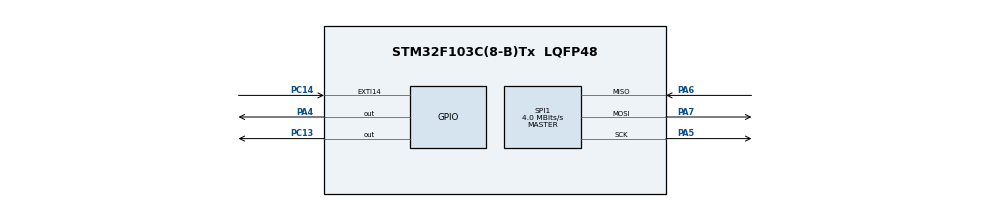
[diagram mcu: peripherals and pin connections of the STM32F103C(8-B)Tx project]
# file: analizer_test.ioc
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Mcu.Family=STM32F1
Mcu.Name=STM32F103C(8-B)Tx
Mcu.Package=LQFP48
NVIC.EXTI15_10_IRQn=true\:0\:0\:false\:false\:true\:true\:true\:true
NVIC.PriorityGroup=NVIC_PRIORITYGROUP_4
NVIC.SPI1_IRQn=true\:0\:0\:false\:false\:true\:true\:true\:true
PA13.Mode=Serial_Wire
PA13.Signal=SYS_JTMS-SWDIO
PA14.Mode=Serial_Wire
PA14.Signal=SYS_JTCK-SWCLK
PA4.GPIO_PuPd=GPIO_NOPULL
PA4.GPIO_Speed=GPIO_SPEED_FREQ_MEDIUM
PA4.PinState=GPIO_PIN_SET
PA4.Signal=GPIO_Output
PA5.Mode=Full_Duplex_Master
PA5.Signal=SPI1_SCK
PA6.Mode=Full_Duplex_Master
PA6.Signal=SPI1_MISO
PA7.Mode=Full_Duplex_Master
PA7.Signal=SPI1_MOSI
PC13-TAMPER-RTC.Signal=GPIO_Output
PC14-OSC32_IN.GPIO_PuPd=GPIO_PULLDOWN
PC14-OSC32_IN.Signal=GPXTI14
PD0-OSC_IN.Mode=HSE-External-Oscillator
PD0-OSC_IN.Signal=RCC_OSC_IN
PD1-OSC_OUT.Mode=HSE-External-Oscillator
PD1-OSC_OUT.Signal=RCC_OSC_OUT
ProjectManager.HeapSize=0x200
ProjectManager.StackSize=0x400
ProjectManager.TargetToolchain=STM32CubeIDE
RCC.APB1Freq_Value=8000000
RCC.APB2Freq_Value=8000000
RCC.PLLSourceVirtual=RCC_PLLSOURCE_HSE
RCC.SYSCLKSource=RCC_SYSCLKSOURCE_HSE
RCC.USBFreq_Value=16000000
SPI1.CRCCalculation=SPI_CRCCALCULATION_DISABLE
SPI1.CalculateBaudRate=4.0 MBits/s
SPI1.Direction=SPI_DIRECTION_2LINES
SPI1.Mode=SPI_MODE_MASTER
SPI1.VirtualType=VM_MASTER
board=custom

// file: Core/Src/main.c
/* USER CODE BEGIN Header */
/**
  ******************************************************************************
  * @file           : main.c
  * @brief          : Main program body
  ******************************************************************************
  * @attention
  *
  * Copyright (c) 2023 STMicroelectronics.
  * All rights reserved.
  *
  * This software is licensed under terms that can be found in the LICENSE file
  * in the root directory of this software component.
  * If no LICENSE file comes with this software, it is provided AS-IS.
  *
  ******************************************************************************
  */
/* USER CODE END Header */
#include "main.h"

/* USER CODE BEGIN Includes */
#include <math.h>
/* USER CODE END Includes */

SPI_HandleTypeDef hspi1;

/* USER CODE BEGIN PV */
uint8_t init_ones[] = {0xFF,0xFF,0xFF,0xFF,0xFF,0xFF,0xFF,0xFF,0xFF,0xFF};
uint8_t init_cmd0[] = {0x40,0x00, 0x00, 0x00, 0x00, 0x95};//0100 0000 0000 0000 0000 0000 0000 0000 0000 0000 1001 0101
/* USER CODE END PV */

void SystemClock_Config(void);
static void MX_GPIO_Init(void);
static void MX_SPI1_Init(void);
/* USER CODE BEGIN PFP */
void HAL_GPIO_EXTI_Callback(uint16_t GPIO_Pin);
void HAL_SPI_TxCpltCallback(SPI_HandleTypeDef *hspi);
uint8_t GET_CRC7(uint64_t data);
/* USER CODE END PFP */

int main(void)
{

  /* MCU Configuration--------------------------------------------------------*/

  /* Reset of all peripherals, Initializes the Flash interface and the Systick. */
  HAL_Init();

  /* Configure the system clock */
  SystemClock_Config();

  /* Initialize all configured peripherals */
  MX_GPIO_Init();
  MX_SPI1_Init();

  /* Infinite loop */
  while (1)
  {

  }
}

void SystemClock_Config(void)
{
  RCC_OscInitTypeDef RCC_OscInitStruct = {0};
  RCC_ClkInitTypeDef RCC_ClkInitStruct = {0};

  /** Initializes the RCC Oscillators according to the specified parameters
  * in the RCC_OscInitTypeDef structure.
  */
  RCC_OscInitStruct.OscillatorType = RCC_OSCILLATORTYPE_HSE;
  RCC_OscInitStruct.HSEState = RCC_HSE_ON;
  RCC_OscInitStruct.PLL.PLLState = RCC_PLL_NONE;
  if (HAL_RCC_OscConfig(&RCC_OscInitStruct) != HAL_OK)
  {
    Error_Handler();
  }

  /** Initializes the CPU, AHB and APB buses clocks
  */
  RCC_ClkInitStruct.ClockType = RCC_CLOCKTYPE_HCLK|RCC_CLOCKTYPE_SYSCLK
                              |RCC_CLOCKTYPE_PCLK1|RCC_CLOCKTYPE_PCLK2;
  RCC_ClkInitStruct.SYSCLKSource = RCC_SYSCLKSOURCE_HSE;
  RCC_ClkInitStruct.AHBCLKDivider = RCC_SYSCLK_DIV1;
  RCC_ClkInitStruct.APB1CLKDivider = RCC_HCLK_DIV1;
  RCC_ClkInitStruct.APB2CLKDivider = RCC_HCLK_DIV1;

  if (HAL_RCC_ClockConfig(&RCC_ClkInitStruct, FLASH_LATENCY_0) != HAL_OK)
  {
    Error_Handler();
  }
}

static void MX_SPI1_Init(void)
{

  /* SPI1 parameter configuration*/
  hspi1.Instance = SPI1;
  hspi1.Init.Mode = SPI_MODE_MASTER;
  hspi1.Init.Direction = SPI_DIRECTION_2LINES;
  hspi1.Init.DataSize = SPI_DATASIZE_8BIT;
  hspi1.Init.CLKPolarity = SPI_POLARITY_LOW;
  hspi1.Init.CLKPhase = SPI_PHASE_1EDGE;
  hspi1.Init.NSS = SPI_NSS_SOFT;
  hspi1.Init.BaudRatePrescaler = SPI_BAUDRATEPRESCALER_2;
  hspi1.Init.FirstBit = SPI_FIRSTBIT_MSB;
  hspi1.Init.TIMode = SPI_TIMODE_DISABLE;
  hspi1.Init.CRCCalculation = SPI_CRCCALCULATION_DISABLE;
  hspi1.Init.CRCPolynomial = 10;
  if (HAL_SPI_Init(&hspi1) != HAL_OK)
  {
    Error_Handler();
  }

}

static void MX_GPIO_Init(void)
{
  GPIO_InitTypeDef GPIO_InitStruct = {0};

  /* GPIO Ports Clock Enable */
  __HAL_RCC_GPIOC_CLK_ENABLE();
  __HAL_RCC_GPIOD_CLK_ENABLE();
  __HAL_RCC_GPIOA_CLK_ENABLE();

  /*Configure GPIO pin Output Level */
  HAL_GPIO_WritePin(GPIOC, GPIO_PIN_13, GPIO_PIN_RESET);

  /*Configure GPIO pin Output Level */
  HAL_GPIO_WritePin(GPIOA, GPIO_PIN_4, GPIO_PIN_SET);

  /*Configure GPIO pin : PC13 */
  GPIO_InitStruct.Pin = GPIO_PIN_13;
  GPIO_InitStruct.Mode = GPIO_MODE_OUTPUT_PP;
  GPIO_InitStruct.Pull = GPIO_NOPULL;
  GPIO_InitStruct.Speed = GPIO_SPEED_FREQ_LOW;
  HAL_GPIO_Init(GPIOC, &GPIO_InitStruct);

  /*Configure GPIO pin : PC14 */
  GPIO_InitStruct.Pin = GPIO_PIN_14;
  GPIO_InitStruct.Mode = GPIO_MODE_IT_RISING;
  GPIO_InitStruct.Pull = GPIO_PULLDOWN;
  HAL_GPIO_Init(GPIOC, &GPIO_InitStruct);

  /*Configure GPIO pin : PA4 */
  GPIO_InitStruct.Pin = GPIO_PIN_4;
  GPIO_InitStruct.Mode = GPIO_MODE_OUTPUT_PP;
  GPIO_InitStruct.Pull = GPIO_NOPULL;
  GPIO_InitStruct.Speed = GPIO_SPEED_FREQ_MEDIUM;
  HAL_GPIO_Init(GPIOA, &GPIO_InitStruct);

  /* EXTI interrupt init*/
  HAL_NVIC_SetPriority(EXTI15_10_IRQn, 0, 0);
  HAL_NVIC_EnableIRQ(EXTI15_10_IRQn);

}

/* USER CODE BEGIN 4 */
void HAL_GPIO_EXTI_Callback(uint16_t GPIO_Pin){
	/*uint8_t CRC7 = GET_CRC7(0b100000000000000000000000000000000000000); //1001010
	CRC7 = GET_CRC7(0b101000100000000000000000000000000000000); //101010
	CRC7 = GET_CRC7(0b1000100000000000000000000100100000000); //110011

	CRC7 = GET_CRC7(0b100000000011111111); //1011010*/

	uint8_t crc7_plus_1_cmd0 = (GET_CRC7(0b100000000000000000000000000000000000000) << 1) + 1; //cmd0
	uint8_t crc7_plus_1_cmd8 = (GET_CRC7(0b100100000000000000000000000000000000001) << 1) + 1; //cmd8

	uint8_t nulls80[] = {0xFF, 0xFF, 0xFF, 0xFF, 0xFF, 0xFF, 0xFF, 0xFF, 0xFF, 0xFF};
	uint8_t cmd0[] = {0x40, 0x00, 0x00, 0x00, 0x00, crc7_plus_1_cmd0};
	uint8_t cmd8[] = {0x48, 0x00, 0x00, 0x00, 0x01, crc7_plus_1_cmd8}; //0x01 - 2.7 - 3.6 V
	uint8_t response[] = {0,0,0,0,0};

	HAL_SPI_Transmit(&hspi1, &nulls80[0], 10, HAL_MAX_DELAY);

	HAL_GPIO_WritePin(GPIOA, GPIO_PIN_4, GPIO_PIN_RESET);
	HAL_SPI_Transmit(&hspi1, &cmd0[0], 6, HAL_MAX_DELAY);
	HAL_GPIO_WritePin(GPIOA, GPIO_PIN_4, GPIO_PIN_SET);

	HAL_GPIO_WritePin(GPIOA, GPIO_PIN_4, GPIO_PIN_RESET);
	HAL_SPI_Receive(&hspi1, &response[0], 5, HAL_MAX_DELAY);
	HAL_GPIO_WritePin(GPIOA, GPIO_PIN_4, GPIO_PIN_SET);

	HAL_GPIO_WritePin(GPIOA, GPIO_PIN_4, GPIO_PIN_RESET);
	HAL_SPI_Transmit(&hspi1, &cmd8[0], 6, HAL_MAX_DELAY);
	HAL_GPIO_WritePin(GPIOA, GPIO_PIN_4, GPIO_PIN_SET);

	//HAL_GPIO_WritePin(GPIOA, GPIO_PIN_4, GPIO_PIN_SET);

	/*uint64_t data_7null = 0x200000000000;//   0x88000048000
	uint8_t flag = 0;
	uint64_t new_data = data_7null;
	uint8_t pos1_data_7null = 0;
	uint8_t offset = 0;
	uint64_t pol = 0x89;
	uint8_t pol_len = 8;
	uint64_t new_pol = pol;
	uint8_t i = 45;
	uint8_t CRC7 = 0;
	uint64_t lsh_1_i = 0;
	uint64_t lsh_1_iplus1 = 0;

	//uint64_t assa = pow(2, 45);
	do{
		while(i >= pol_len-1){
			if(i != pol_len - 1){
				lsh_1_i = pow(2,i);
				lsh_1_iplus1 = pow(2,(i+1));
				if((new_data >= lsh_1_i) && (new_data < lsh_1_iplus1)){	//==?
					pos1_data_7null = i + 1;
					i = i-1;
					break;
				}else
					i = i-1;
			}else{
				if(i!=7){
					offset = pos1_data_7null - pol_len;;
					new_pol = pol << offset;
					new_data = new_data ^ new_pol;
				}
				CRC7 = new_data;
				flag = 1;
				break;
			}
		}
		if(flag!=1){
			offset = pos1_data_7null - pol_len;
			new_pol = pol << offset;				//vidayot null
			new_data = new_data ^ new_pol;
		}
	}while(flag == 0);*/

}

uint8_t GET_CRC7(uint64_t data){
	uint8_t nulls = 64; //45
	//uint64_t data;
	uint64_t pol = 0x89;
	uint8_t data_len = 0;
	uint8_t pol_len = 8;
	uint64_t pol_long = 0;
	uint8_t flag = 0;
	uint8_t CRC7 = 0;
	uint64_t pow_2_nulls = 0;
	uint64_t pow_2_nulls_p_1 = 0;
	uint8_t nulls_for_pol = 0;
	data = data << 7;

	do{
		do{
			pow_2_nulls = (pow(2,nulls));
			pow_2_nulls_p_1 = (pow(2,(nulls+1)));
			if(data >= pow_2_nulls && data < pow_2_nulls_p_1){
				data_len = nulls + 1;
				flag = 1;
			}
			nulls = nulls - 1;
		}while(flag == 0);	//till this point i calculate data_len
		flag = 0;
		if(data_len > 7){
			nulls_for_pol = data_len - pol_len;
			pol_long = pol << nulls_for_pol;
			data = data ^ pol_long;	//till this point i calculate "x or"
		}else{
			CRC7 = data;
			flag = 2;
		}
	}while(flag != 2);
	return CRC7;
}

//pull up NSS
void HAL_SPI_TxCpltCallback(SPI_HandleTypeDef *hspi){
	HAL_GPIO_WritePin(GPIOA, GPIO_PIN_4, GPIO_PIN_SET);
}
/* USER CODE END 4 */

void Error_Handler(void)
{
  __disable_irq();
  while (1)
  {
  }
}
